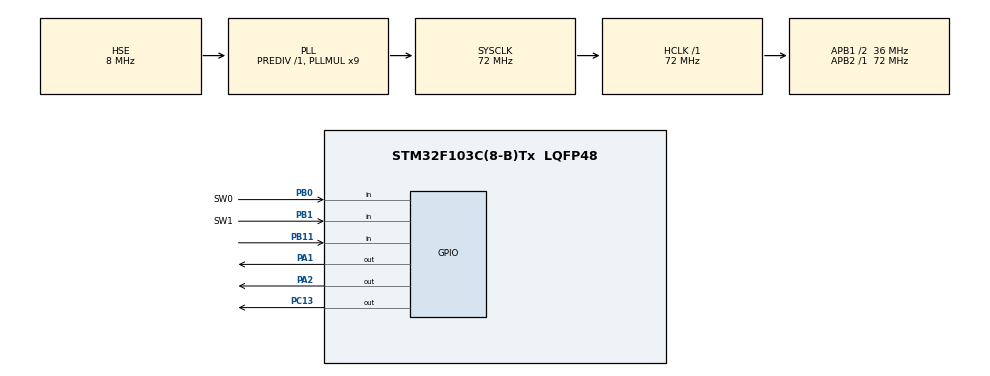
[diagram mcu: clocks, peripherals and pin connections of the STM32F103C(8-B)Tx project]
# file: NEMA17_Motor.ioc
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Mcu.Family=STM32F1
Mcu.Name=STM32F103C(8-B)Tx
Mcu.Package=LQFP48
NVIC.PriorityGroup=NVIC_PRIORITYGROUP_4
PA1.Signal=GPIO_Output
PA13.Mode=Serial_Wire
PA13.Signal=SYS_JTMS-SWDIO
PA14.Mode=Serial_Wire
PA14.Signal=SYS_JTCK-SWCLK
PA2.Signal=GPIO_Output
PB0.GPIO_Label=SW0
PB0.GPIO_PuPd=GPIO_PULLDOWN
PB0.Signal=GPIO_Input
PB1.GPIO_Label=SW1
PB1.GPIO_PuPd=GPIO_PULLDOWN
PB1.Signal=GPIO_Input
PB11.GPIO_PuPd=GPIO_PULLDOWN
PB11.Signal=GPIO_Input
PC13-TAMPER-RTC.Signal=GPIO_Output
PD0-OSC_IN.Mode=HSE-External-Oscillator
PD0-OSC_IN.Signal=RCC_OSC_IN
PD1-OSC_OUT.Mode=HSE-External-Oscillator
PD1-OSC_OUT.Signal=RCC_OSC_OUT
ProjectManager.HeapSize=0x200
ProjectManager.StackSize=0x400
ProjectManager.TargetToolchain=STM32CubeIDE
RCC.AHBFreq_Value=72000000
RCC.APB1CLKDivider=RCC_HCLK_DIV2
RCC.APB1Freq_Value=36000000
RCC.APB1TimFreq_Value=72000000
RCC.APB2Freq_Value=72000000
RCC.APB2TimFreq_Value=72000000
RCC.HCLKFreq_Value=72000000
RCC.PLLMUL=RCC_PLL_MUL9
RCC.PLLSourceVirtual=RCC_PLLSOURCE_HSE
RCC.SYSCLKFreq_VALUE=72000000
RCC.SYSCLKSource=RCC_SYSCLKSOURCE_PLLCLK
RCC.USBFreq_Value=72000000
TIM1.Prescaler=71
VP_TIM1_VS_ClockSourceINT.Mode=Internal
board=custom

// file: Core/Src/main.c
/* USER CODE BEGIN Header */
/**
  ******************************************************************************
  * @file           : main.c
  * @brief          : Main program body
  ******************************************************************************
  * @attention
  *
  * Copyright (c) 2023 STMicroelectronics.
  * All rights reserved.
  *
  * This software is licensed under terms that can be found in the LICENSE file
  * in the root directory of this software component.
  * If no LICENSE file comes with this software, it is provided AS-IS.
  *
  ******************************************************************************
  */
/* USER CODE END Header */
#include "main.h"

TIM_HandleTypeDef htim1;

void SystemClock_Config(void);
static void MX_GPIO_Init(void);
static void MX_TIM1_Init(void);

/* USER CODE BEGIN 0 */
#define DIR_PIN GPIO_PIN_1
#define DIR_PORT GPIOA
#define STEP_PIN GPIO_PIN_2
#define STEP_PORT GPIOA
uint8_t ext = 0;

void microDelay (uint16_t delay)
{
  __HAL_TIM_SET_COUNTER(&htim1, 0);   // set the counter value a 0
  while (__HAL_TIM_GET_COUNTER(&htim1) < delay);   // wait for the counter to reach the us input in the parameter
}

void step (uint8_t direction, uint16_t delay)
{
  if (direction == 0)
  {
	  HAL_GPIO_WritePin(DIR_PORT, DIR_PIN, GPIO_PIN_SET);
  }
   else
  {
	  HAL_GPIO_WritePin(DIR_PORT, DIR_PIN, GPIO_PIN_RESET);
  }

    HAL_GPIO_WritePin(STEP_PORT, STEP_PIN, GPIO_PIN_SET);
    microDelay(delay);
    HAL_GPIO_WritePin(STEP_PORT, STEP_PIN, GPIO_PIN_RESET);
    microDelay(delay);
}

/* USER CODE END 0 */

int main(void)
{

  /* MCU Configuration--------------------------------------------------------*/

  /* Reset of all peripherals, Initializes the Flash interface and the Systick. */
  HAL_Init();

  /* Configure the system clock */
  SystemClock_Config();

  /* Initialize all configured peripherals */
  MX_GPIO_Init();
  MX_TIM1_Init();
  /* USER CODE BEGIN 2 */
  HAL_TIM_Base_Start(&htim1);
  /* USER CODE END 2 */

  /* Infinite loop */
  /* USER CODE BEGIN WHILE */
  while (1)
{
	  /* LID OPEN/CLOSE */

	  if (HAL_GPIO_ReadPin(GPIOB, GPIO_PIN_11) == 0)
	  {
		  if(ext == 1)
		  {
			  step(0, 0);
		  }
		  else
		  step(0, 1000); //CCW
	  }
	  else
	  {
		  if(ext == 2)
		  {
			  step(0, 0);
		  }
		  else
		  step(1, 1000); //CW
	  }

	  if (HAL_GPIO_ReadPin(SW0_GPIO_Port, SW0_Pin) != 0)
		  ext = 1;

	  else if (HAL_GPIO_ReadPin(SW1_GPIO_Port, SW1_Pin) != 0)
		  ext = 2;
	  else
		  ext = 0;
    /* USER CODE END WHILE */

  }
}

void SystemClock_Config(void)
{
  RCC_OscInitTypeDef RCC_OscInitStruct = {0};
  RCC_ClkInitTypeDef RCC_ClkInitStruct = {0};

  /** Initializes the RCC Oscillators according to the specified parameters
  * in the RCC_OscInitTypeDef structure.
  */
  RCC_OscInitStruct.OscillatorType = RCC_OSCILLATORTYPE_HSE;
  RCC_OscInitStruct.HSEState = RCC_HSE_ON;
  RCC_OscInitStruct.HSEPredivValue = RCC_HSE_PREDIV_DIV1;
  RCC_OscInitStruct.HSIState = RCC_HSI_ON;
  RCC_OscInitStruct.PLL.PLLState = RCC_PLL_ON;
  RCC_OscInitStruct.PLL.PLLSource = RCC_PLLSOURCE_HSE;
  RCC_OscInitStruct.PLL.PLLMUL = RCC_PLL_MUL9;
  if (HAL_RCC_OscConfig(&RCC_OscInitStruct) != HAL_OK)
  {
    Error_Handler();
  }

  /** Initializes the CPU, AHB and APB buses clocks
  */
  RCC_ClkInitStruct.ClockType = RCC_CLOCKTYPE_HCLK|RCC_CLOCKTYPE_SYSCLK
                              |RCC_CLOCKTYPE_PCLK1|RCC_CLOCKTYPE_PCLK2;
  RCC_ClkInitStruct.SYSCLKSource = RCC_SYSCLKSOURCE_PLLCLK;
  RCC_ClkInitStruct.AHBCLKDivider = RCC_SYSCLK_DIV1;
  RCC_ClkInitStruct.APB1CLKDivider = RCC_HCLK_DIV2;
  RCC_ClkInitStruct.APB2CLKDivider = RCC_HCLK_DIV1;

  if (HAL_RCC_ClockConfig(&RCC_ClkInitStruct, FLASH_LATENCY_2) != HAL_OK)
  {
    Error_Handler();
  }
}

static void MX_TIM1_Init(void)
{

  TIM_ClockConfigTypeDef sClockSourceConfig = {0};
  TIM_MasterConfigTypeDef sMasterConfig = {0};

  htim1.Instance = TIM1;
  htim1.Init.Prescaler = 71;
  htim1.Init.CounterMode = TIM_COUNTERMODE_UP;
  htim1.Init.Period = 65535;
  htim1.Init.ClockDivision = TIM_CLOCKDIVISION_DIV1;
  htim1.Init.RepetitionCounter = 0;
  htim1.Init.AutoReloadPreload = TIM_AUTORELOAD_PRELOAD_DISABLE;
  if (HAL_TIM_Base_Init(&htim1) != HAL_OK)
  {
    Error_Handler();
  }
  sClockSourceConfig.ClockSource = TIM_CLOCKSOURCE_INTERNAL;
  if (HAL_TIM_ConfigClockSource(&htim1, &sClockSourceConfig) != HAL_OK)
  {
    Error_Handler();
  }
  sMasterConfig.MasterOutputTrigger = TIM_TRGO_RESET;
  sMasterConfig.MasterSlaveMode = TIM_MASTERSLAVEMODE_DISABLE;
  if (HAL_TIMEx_MasterConfigSynchronization(&htim1, &sMasterConfig) != HAL_OK)
  {
    Error_Handler();
  }

}

static void MX_GPIO_Init(void)
{
  GPIO_InitTypeDef GPIO_InitStruct = {0};

  /* GPIO Ports Clock Enable */
  __HAL_RCC_GPIOC_CLK_ENABLE();
  __HAL_RCC_GPIOD_CLK_ENABLE();
  __HAL_RCC_GPIOA_CLK_ENABLE();
  __HAL_RCC_GPIOB_CLK_ENABLE();

  /*Configure GPIO pin Output Level */
  HAL_GPIO_WritePin(GPIOC, GPIO_PIN_13, GPIO_PIN_RESET);

  /*Configure GPIO pin Output Level */
  HAL_GPIO_WritePin(GPIOA, GPIO_PIN_1|GPIO_PIN_2, GPIO_PIN_RESET);

  /*Configure GPIO pin : PC13 */
  GPIO_InitStruct.Pin = GPIO_PIN_13;
  GPIO_InitStruct.Mode = GPIO_MODE_OUTPUT_PP;
  GPIO_InitStruct.Pull = GPIO_NOPULL;
  GPIO_InitStruct.Speed = GPIO_SPEED_FREQ_LOW;
  HAL_GPIO_Init(GPIOC, &GPIO_InitStruct);

  /*Configure GPIO pins : PA1 PA2 */
  GPIO_InitStruct.Pin = GPIO_PIN_1|GPIO_PIN_2;
  GPIO_InitStruct.Mode = GPIO_MODE_OUTPUT_PP;
  GPIO_InitStruct.Pull = GPIO_NOPULL;
  GPIO_InitStruct.Speed = GPIO_SPEED_FREQ_LOW;
  HAL_GPIO_Init(GPIOA, &GPIO_InitStruct);

  /*Configure GPIO pins : SW0_Pin SW1_Pin PB11 */
  GPIO_InitStruct.Pin = SW0_Pin|SW1_Pin|GPIO_PIN_11;
  GPIO_InitStruct.Mode = GPIO_MODE_INPUT;
  GPIO_InitStruct.Pull = GPIO_PULLDOWN;
  HAL_GPIO_Init(GPIOB, &GPIO_InitStruct);

}

void Error_Handler(void)
{
  __disable_irq();
  while (1)
  {
  }
}
